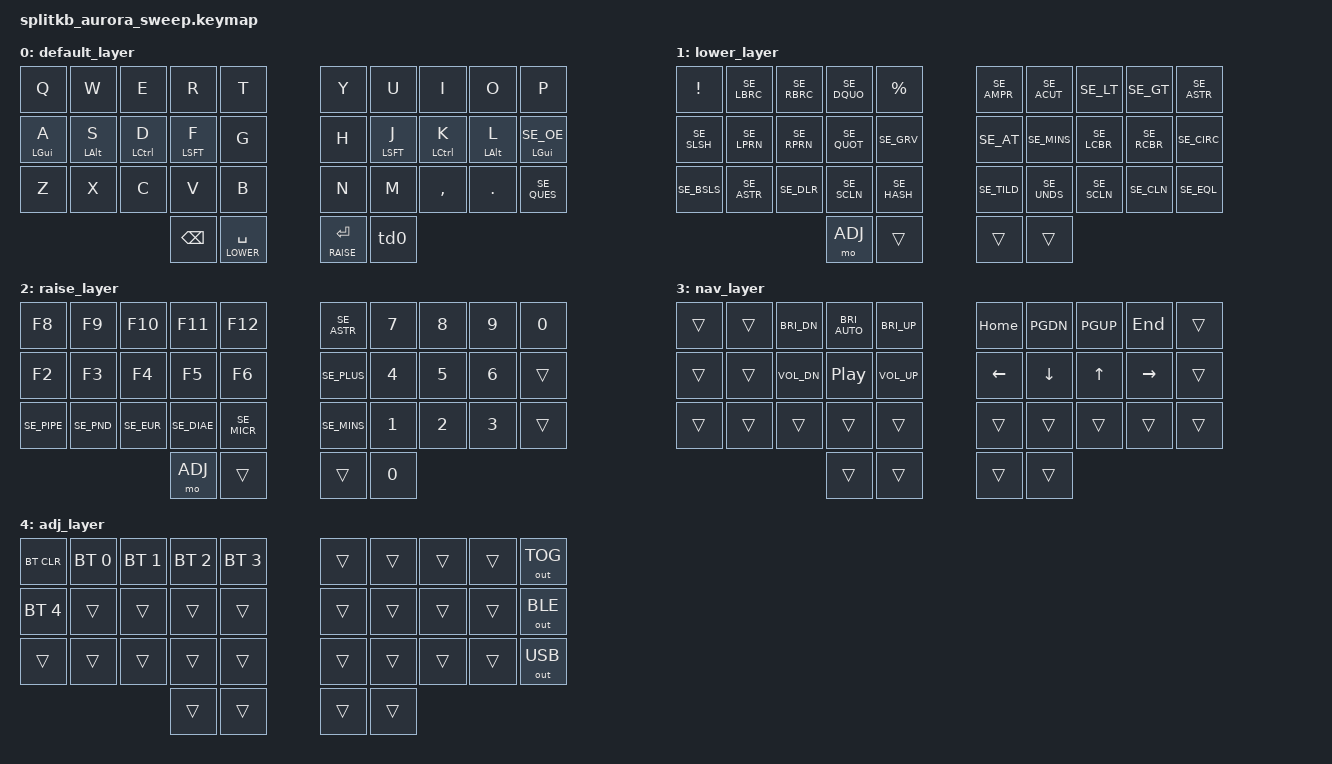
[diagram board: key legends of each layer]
#include <behaviors.dtsi>
#include <dt-bindings/zmk/bt.h>
#include <dt-bindings/zmk/keys.h>
#include <dt-bindings/zmk/outputs.h>
#include <dt-bindings/zmk/ext_power.h>
#include "keys-swedish.h"

#define DEFAULT 0
#define LOWER   1
#define RAISE   2
#define NAV     3
#define ADJ     4

#define FAST_COMBO_TIMEOUT 30
#define SLOW_COMBO_TIMEOUT 40

&lt {
    tapping_term_ms = <200>;
    flavor = "tap-preferred";
};
&mt {
    tapping_term_ms = <200>;
    flavor = "tap-preferred";
};
&caps_word {
    continue-list = <SE_MINS SE_UNDS SE_AMPR SE_AE SE_OE SE_AA>;
};

/ {
    combos {
        compatible = "zmk,combos";
        combo_caps {
            timeout-ms = <SLOW_COMBO_TIMEOUT>;
            key-positions = <13 16>;
            bindings = <&caps_word>;
        };
        combo_esc {
            timeout-ms = <SLOW_COMBO_TIMEOUT>;
            key-positions = <16 17>;
            bindings = <&kp ESC>;
        };
        combo_tab {
            timeout-ms = <SLOW_COMBO_TIMEOUT>;
            key-positions = <12 13>;
            bindings = <&kp TAB>;
        };
        combo_aa {
            timeout-ms = <SLOW_COMBO_TIMEOUT>;
            key-positions = <8 9>;
            bindings = <&kp SE_AA>;
        };        
        combo_ae {
            timeout-ms = <SLOW_COMBO_TIMEOUT>;
            key-positions = <18 19>;
            bindings = <&kp SE_AE>;
        };
    };
};

/ {
    behaviors {
        hm: homerow_mods {
            compatible = "zmk,behavior-hold-tap";
            label = "homerow mods";
            #binding-cells = <2>;
            tapping_term_ms = <200>;
            flavor = "tap-preferred";
            bindings = <&kp>, <&kp>;
        };
        td0: tap_dance_0 {
            compatible = "zmk,behavior-tap-dance";
            label = "TAP_DANCE_0";
            #binding-cells = <0>;
            tapping-term-ms = <200>;
            bindings = <&kp LS(LG(LC(LALT)))>, <&sl ADJ>;
        };
    };

};

/ {
  conditional_layers {
    compatible = "zmk,conditional-layers";
    tri_layer {
        if-layers = <1 2>;
        then-layer = <3>;
    };
  };
};

/ {
        keymap {
                compatible = "zmk,keymap";

                default_layer {
// -----------------------------------------------------------------------------------------
//   Q  |  W  |  E  |  R  |  T  |   |  Y  |  U   |  I  |  O  |  P
//   A  |  S  |  D  |  F  |  G  |   |  H  |  J   |  K  |  L  |  ;
//   Z  |  X  |  C  |  V  |  B  |   |  N  |  M   |  ,  |  .  |  /
//                     LWR | SPC |   | ENT | RSE
                        bindings = <
   &kp Q      &kp W      &kp E      &kp R      &kp T          &kp Y &kp U       &kp I       &kp O      &kp P
   &hm LGUI A &hm LALT S &hm LCTL D &hm LSFT F &kp G          &kp H &hm LSFT J  &hm LCTL K  &hm LALT L &hm LGUI SE_OE
   &kp Z      &kp X      &kp C      &kp V      &kp B          &kp N &kp M       &kp CMMA    &kp DOT    &kp SE_QUES
                                    &kp BKSP   &lt LOWER SPC  &lt RAISE RET     &td0
                        >;
                };
                lower_layer {
// -----------------------------------------------------------------------------------------
//   1  |  2  |  3  |  4  |  5  |   |  6  |  7  |  8  |  9  |  0  |
//      |     |     |     |     |   | LFT | DWN |  UP | RGT |     |
//      | BT1 | BT2 | BT3 | BT4 | BT5 |   | HME |     |     | END |     |
//                    |     |     | BTC |   |     |     |     |
                        bindings = <
   &kp EXCL    &kp SE_LBRC &kp SE_RBRC &kp SE_DQUO &kp PRCNT      &kp SE_AMPR &kp SE_ACUT &kp SE_LT   &kp SE_GT   &kp SE_ASTR
   &kp SE_SLSH &kp SE_LPRN &kp SE_RPRN &kp SE_QUOT &kp SE_GRV     &kp SE_AT   &kp SE_MINS &kp SE_LCBR &kp SE_RCBR &kp SE_CIRC
   &kp SE_BSLS &kp SE_ASTR &kp SE_DLR  &kp SE_SCLN &kp SE_HASH    &kp SE_TILD &kp SE_UNDS &kp SE_SCLN &kp SE_CLN  &kp SE_EQL
                                       &mo ADJ     &trans         &trans      &trans
                        >;
                };

                raise_layer {
// -----------------------------------------------------------------------------------------
//   !  |  @  |  #  |  $  |  %  |   |  ^  |  &  |  *  |  (  |  )  |
//      |     |     |     |     |   |  -  |  =  |  {  |  }  | "|" |
//      |     |     |     |     |   |  _  |  +  |  [  |  ]  |  \  |
//                    | GUI |     | SPC |   | ENT |     | ALT |
                        bindings = <
   &kp F8      &kp F9     &kp F10    &kp F11     &kp F12           &kp SE_ASTR &kp N7 &kp N8 &kp N9 &kp N0
   &kp F2      &kp F3     &kp F4     &kp F5      &kp F6            &kp SE_PLUS &kp N4 &kp N5 &kp N6 &trans
   &kp SE_PIPE &kp SE_PND &kp SE_EUR &kp SE_DIAE &kp SE_MICR       &kp SE_MINS &kp N1 &kp N2 &kp N3 &trans
                                     &mo ADJ     &trans            &trans      &kp 0
                        >;
                };

                nav_layer {
// -----------------------------------------------------------------------------------------
// |  !  |  @  |  #  |  $  |  %  |   |  ^  |  &  |  *  |  (  |  )  |
// |     |     |     |     |     |   |  -  |  =  |  {  |  }  | "|" |
// |     |     |     |     |     |   |  _  |  +  |  [  |  ]  |  \  |
//                    | GUI |     | SPC |   | ENT |     | ALT |
                        bindings = <
   &trans &trans &kp C_BRI_DN &kp C_BRI_AUTO &kp C_BRI_UP   &kp HOME &kp PGDN &kp PGUP &kp END   &trans
   &trans &trans &kp C_VOL_DN &kp C_PP       &kp C_VOL_UP   &kp LEFT &kp DOWN &kp UP   &kp RIGHT &trans
   &trans &trans &trans       &trans         &trans         &trans   &trans   &trans   &trans    &trans
                              &trans         &trans         &trans   &trans
                        >;
                };

                adj_layer {
// -----------------------------------------------------------------------------------------
// |  !  |  @  |  #  |  $  |  %  |   |  ^  |  &  |  *  |  (  |  )  |
// |     |     |     |     |     |   |  -  |  =  |  {  |  }  | "|" |
// |     |     |     |     |     |   |  _  |  +  |  [  |  ]  |  \  |
//                    | GUI |     | SPC |   | ENT |     | ALT |
                        bindings = <
   &bt BT_CLR    &bt BT_SEL 0 &bt BT_SEL 1 &bt BT_SEL 2 &bt BT_SEL 3    &trans &trans &trans &trans &out OUT_TOG
   &bt BT_SEL 4  &trans       &trans       &trans       &trans          &trans &trans &trans &trans &out OUT_BLE
   &trans        &trans       &trans       &trans       &trans          &trans &trans &trans &trans &out OUT_USB
                                           &trans       &trans          &trans &trans
                                           >;
                };
        };
};
